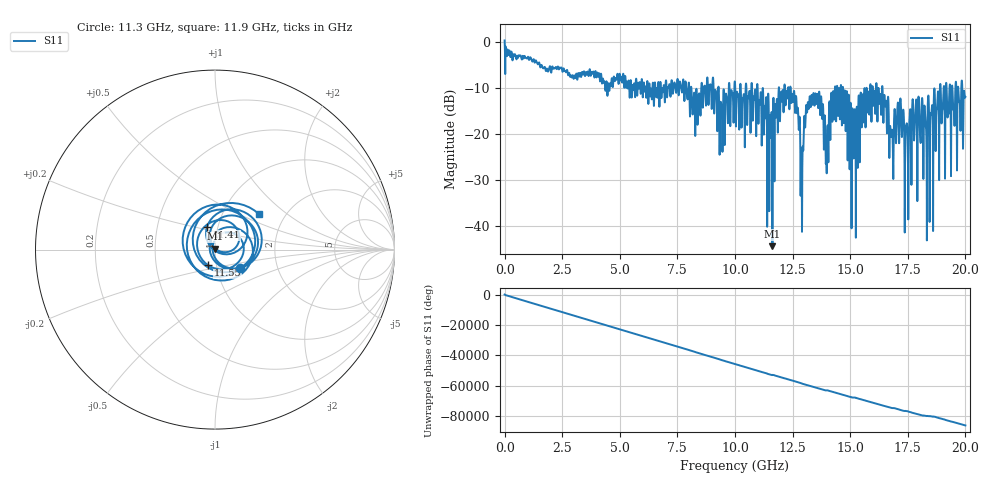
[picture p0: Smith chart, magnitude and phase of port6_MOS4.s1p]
! MS46122B
! 2250307/22442219
! 7/23/2025 1:12:00 PM
! C:\USERS\SPARKY\DOCUMENTS\VNA_DATA\JULY23_2025\295K\PORT6_MOS4.S1P
! CHANNEL.1
! TR.MEASUREMENT
! RAW.DATA
# GHZ S RI R 50.0
! FREQ.GHZ  S11RE  S11IM
!; PortSelection: Port_1
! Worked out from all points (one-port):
!   10001 points, 1 MHz to 20 GHz, reference 50 ohm
!   lowest |S11| = -44.5 dB at 11.62 GHz (marker M1), VSWR 1.01, Z = 50.2 + j0.577 ohm
!   |S11| at or under -10 dB: 12.41 GHz to 14.34 GHz (1.923 GHz wide, 14.4 % of centre); 14.69 GHz to 15.62 GHz (931.7 MHz wide, 6.15 % of centre); 16.4 GHz to 18.89 GHz (2.492 GHz wide, 14.1 % of centre) (the widest 3 of 69)
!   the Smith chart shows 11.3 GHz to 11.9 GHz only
!   S11 on the Smith chart (normalised r, x): 11.3 GHz: 1.29, -0.28; 11.41 GHz: 0.89, +0.23; 11.55 GHz: 0.91, -0.16; 11.9 GHz: 1.48, +0.65
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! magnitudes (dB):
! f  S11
! 1 MHz  0.4
! 2.501 GHz  -6.2
! 5.001 GHz  -7.0
! 7.501 GHz  -8.0
! 8.977 GHz  -12.4
! 9.397 GHz  -13.3
! 10 GHz  -8.8
! 11.3 GHz  -15.1
! 11.41 GHz  -17.5
! 11.55 GHz  -20.4
! 11.62 GHz  -44.5
! 11.9 GHz  -10.0
! 12.5 GHz  -11.8
! 12.9 GHz  -27.7
! 13.33 GHz  -11.5
! 13.73 GHz  -11.9
! 13.96 GHz  -25.1
! 14.35 GHz  -9.6
! 15 GHz  -14.7
! 16.05 GHz  -10.7
! 16.57 GHz  -13.9
! 16.79 GHz  -20.0
! 17.12 GHz  -22.0
! 17.5 GHz  -22.9
! 17.79 GHz  -20.0
! 18.25 GHz  -16.2
! 18.99 GHz  -15.6
! 20 GHz  -11.9
